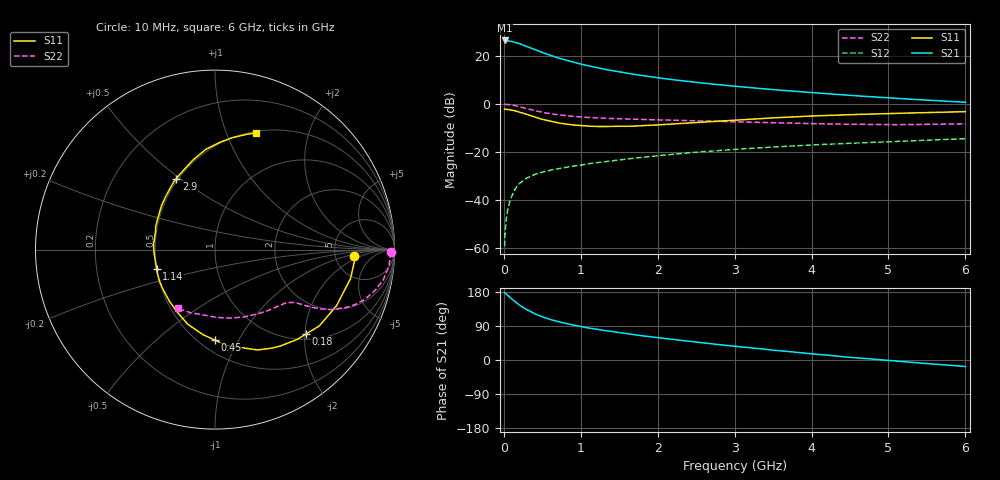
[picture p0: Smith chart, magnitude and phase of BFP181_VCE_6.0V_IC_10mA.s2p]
! Infineon Technologies  Discrete & RF Semiconductors
! BFP181
! VCE = 6.0 V,  IC =  10 mA
! Common Emitter S-Parameters:  Jan 2016
# GHz  S  MA  R  50
!  f  S11  S21  S12  S22
! GHz  MAG  ANG  MAG  ANG  MAG  ANG  MAG  ANG
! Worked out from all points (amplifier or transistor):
!   210 points, 10 MHz to 6 GHz, reference 50 ohm
!   highest |S21| = 26.4 dB at 10 MHz (marker M1)
!   |S21| within 3 dB of that: start of sweep to 338.3 MHz
!   unconditionally stable (mu >= 1): 1.27 GHz to end of sweep
!   at 185 MHz: K = 0.25, MSG = 29.5 dB, |S12| = -33.8 dB
!   at 1.52 GHz: K = 1.06, MAG = 16.8 dB, |S12| = -23.2 dB
!   at 6 GHz: K = 1.02, MAG = 6.7 dB, |S12| = -14.5 dB
!   S11 on the Smith chart (normalised r, x): 10 MHz: 7.74, -1.44; 180 MHz: 1.12, -2.02; 450 MHz: 0.59, -0.80; 1.14 GHz: 0.50, -0.12; 2.9 GHz: 0.49, +0.49; 6 GHz: 0.51, +1.28
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0.01  0.778 -2.7  20.91 177.4  0.0011 82.1  0.9817 -0.8
0.05  0.7721 -12.1  20.61 170.5  0.0062 88.6  0.9742 -5.2
0.1  0.7458 -24.8  19.91 161.7  0.0117 77.7  0.9525 -10.2
0.15  0.72 -36.2  19.01 153.1  0.0172 72.1  0.9185 -14.5
0.18  0.6913 -42.9  18.4 148.5  0.02 69.1  0.8944 -16.8
0.24  0.6493 -55.7  17.02 139.9  0.0246 64.6  0.8455 -20.9
0.3  0.6075 -67.0  15.67 132.8  0.0287 60.3  0.7971 -23.9
0.4  0.538 -83.1  13.57 122.0  0.0341 56.6  0.727 -27.4
0.45  0.5039 -90.2  12.62 118.2  0.036 54.4  0.6986 -28.4
0.5  0.4784 -98.1  11.73 113.7  0.038 52.4  0.6704 -29.5
0.6  0.4424 -110.1  10.34 107.1  0.0419 50.9  0.6271 -30.8
0.7  0.4056 -121.6  9.086 101.6  0.0448 49.8  0.5951 -31.7
0.8  0.3832 -131.7  8.201 96.6  0.0477 49.1  0.5714 -32.3
1.02  0.3534 -152.0  6.629 87.5  0.054 48.9  0.5329 -33.6
1.14  0.3431 -161.6  6.011 83.3  0.0579 48.6  0.5193 -34.5
1.5  0.3435 175.1  4.645 72.1  0.0683 47.9  0.4915 -37.5
2.02  0.3677 148.4  3.464 58.6  0.0843 46.1  0.4663 -43.5
2.9  0.4507 118.5  2.42 38.4  0.1103 41.0  0.4291 -56.5
3.1  0.4694 113.2  2.263 34.5  0.116 39.6  0.4205 -59.9
4.1  0.5674 93.6  1.677 14.6  0.1426 32.0  0.3871 -79.5
5.1  0.6375 79.9  1.308 -2.7  0.1661 24.8  0.3705 -101.6
6  0.6907 70.5  1.085 -17.2  0.189 18.0  0.3879 -122.3
